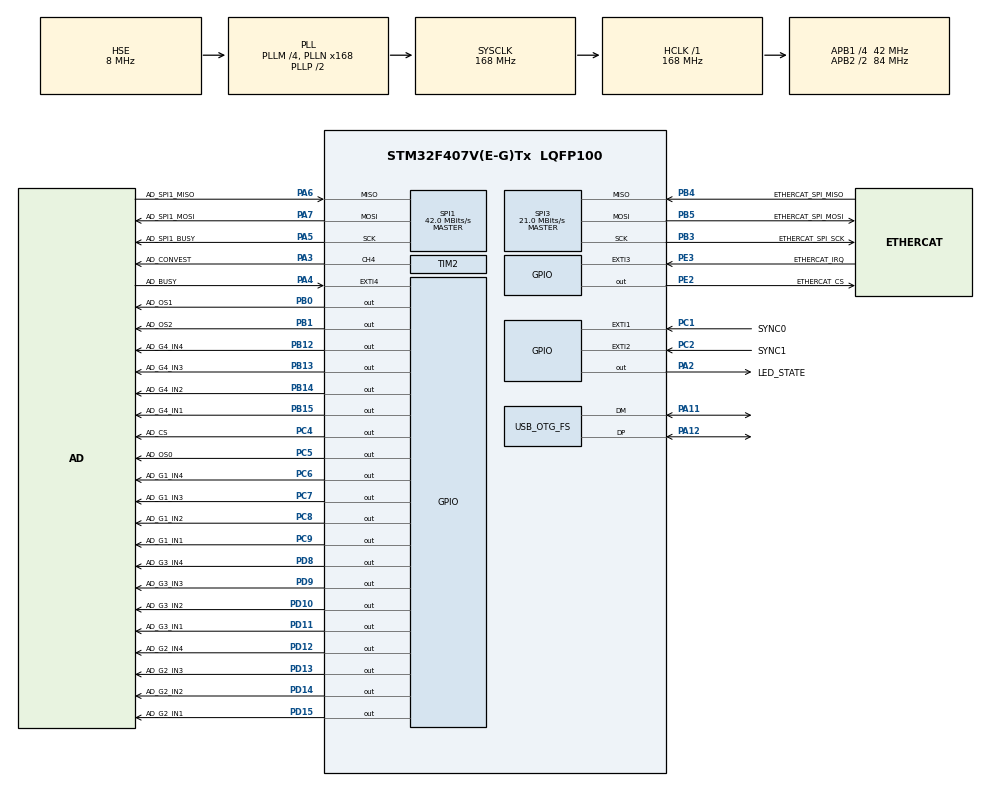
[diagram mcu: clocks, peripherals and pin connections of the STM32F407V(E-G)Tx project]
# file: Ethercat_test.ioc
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Mcu.Family=STM32F4
Mcu.Name=STM32F407V(E-G)Tx
Mcu.Package=LQFP100
NVIC.EXTI1_IRQn=true\:7\:0\:true\:false\:true\:true
NVIC.EXTI2_IRQn=true\:6\:1\:true\:false\:true\:true
NVIC.EXTI3_IRQn=true\:6\:0\:true\:false\:true\:true
NVIC.EXTI4_IRQn=true\:1\:1\:true\:false\:true\:true
NVIC.OTG_FS_IRQn=true\:0\:0\:false\:false\:true\:false
NVIC.PriorityGroup=NVIC_PRIORITYGROUP_3
NVIC.TIM5_IRQn=true\:5\:1\:true\:false\:true\:true
PA11.Mode=Device_Only
PA11.Signal=USB_OTG_FS_DM
PA12.Mode=Device_Only
PA12.Signal=USB_OTG_FS_DP
PA2.GPIO_Label=LED_STATE
PA2.GPIO_PuPd=GPIO_PULLUP
PA2.GPIO_Speed=GPIO_SPEED_FREQ_HIGH
PA2.PinState=GPIO_PIN_SET
PA2.Signal=GPIO_Output
PA3.GPIO_Label=AD_CONVEST
PA3.Signal=S_TIM2_CH4
PA4.GPIO_Label=AD_BUSY
PA4.GPIO_ModeDefaultEXTI=GPIO_MODE_IT_FALLING
PA4.Signal=GPXTI4
PA5.GPIO_Label=AD_SPI1_BUSY
PA5.GPIO_PuPd=GPIO_PULLUP
PA5.Mode=Full_Duplex_Master
PA5.Signal=SPI1_SCK
PA6.GPIO_Label=AD_SPI1_MISO
PA6.GPIO_PuPd=GPIO_PULLUP
PA6.Mode=Full_Duplex_Master
PA6.Signal=SPI1_MISO
PA7.GPIO_Label=AD_SPI1_MOSI
PA7.GPIO_PuPd=GPIO_PULLUP
PA7.Mode=Full_Duplex_Master
PA7.Signal=SPI1_MOSI
PB0.GPIO_Label=AD_OS1
PB0.GPIO_PuPd=GPIO_PULLDOWN
PB0.GPIO_Speed=GPIO_SPEED_FREQ_HIGH
PB0.Signal=GPIO_Output
PB1.GPIO_Label=AD_OS2
PB1.GPIO_PuPd=GPIO_PULLDOWN
PB1.GPIO_Speed=GPIO_SPEED_FREQ_HIGH
PB1.Signal=GPIO_Output
PB12.GPIO_Label=AD_G4_IN4
PB12.GPIO_PuPd=GPIO_PULLDOWN
PB12.GPIO_Speed=GPIO_SPEED_FREQ_HIGH
PB12.Signal=GPIO_Output
PB13.GPIO_Label=AD_G4_IN3
PB13.GPIO_PuPd=GPIO_PULLDOWN
PB13.GPIO_Speed=GPIO_SPEED_FREQ_HIGH
PB13.Signal=GPIO_Output
PB14.GPIO_Label=AD_G4_IN2
PB14.GPIO_PuPd=GPIO_PULLDOWN
PB14.GPIO_Speed=GPIO_SPEED_FREQ_HIGH
PB14.Signal=GPIO_Output
PB15.GPIO_Label=AD_G4_IN1
PB15.GPIO_PuPd=GPIO_PULLDOWN
PB15.GPIO_Speed=GPIO_SPEED_FREQ_HIGH
PB15.Signal=GPIO_Output
PB3.GPIO_Label=ETHERCAT_SPI_SCK
PB3.GPIO_PuPd=GPIO_PULLDOWN
PB3.Mode=Full_Duplex_Master
PB3.Signal=SPI3_SCK
PB4.GPIO_Label=ETHERCAT_SPI_MISO
PB4.GPIO_PuPd=GPIO_PULLDOWN
PB4.Mode=Full_Duplex_Master
PB4.Signal=SPI3_MISO
PB5.GPIO_Label=ETHERCAT_SPI_MOSI
PB5.GPIO_PuPd=GPIO_PULLDOWN
PB5.Mode=Full_Duplex_Master
PB5.Signal=SPI3_MOSI
PC1.GPIO_Label=SYNC0
PC1.GPIO_ModeDefaultEXTI=GPIO_MODE_IT_FALLING
PC1.Signal=GPXTI1
PC14-OSC32_IN.Mode=LSE-External-Oscillator
PC14-OSC32_IN.Signal=RCC_OSC32_IN
PC15-OSC32_OUT.Mode=LSE-External-Oscillator
PC15-OSC32_OUT.Signal=RCC_OSC32_OUT
PC2.GPIO_Label=SYNC1
PC2.GPIO_ModeDefaultEXTI=GPIO_MODE_IT_FALLING
PC2.Signal=GPXTI2
PC4.GPIO_Label=AD_CS
PC4.GPIO_PuPd=GPIO_PULLUP
PC4.GPIO_Speed=GPIO_SPEED_FREQ_HIGH
PC4.PinState=GPIO_PIN_SET
PC4.Signal=GPIO_Output
PC5.GPIO_Label=AD_OS0
PC5.GPIO_PuPd=GPIO_PULLDOWN
PC5.GPIO_Speed=GPIO_SPEED_FREQ_HIGH
PC5.Signal=GPIO_Output
PC6.GPIO_Label=AD_G1_IN4
PC6.GPIO_PuPd=GPIO_PULLDOWN
PC6.GPIO_Speed=GPIO_SPEED_FREQ_HIGH
PC6.Signal=GPIO_Output
PC7.GPIO_Label=AD_G1_IN3
PC7.GPIO_PuPd=GPIO_PULLDOWN
PC7.GPIO_Speed=GPIO_SPEED_FREQ_HIGH
PC7.Signal=GPIO_Output
PC8.GPIO_Label=AD_G1_IN2
PC8.GPIO_PuPd=GPIO_PULLDOWN
PC8.GPIO_Speed=GPIO_SPEED_FREQ_HIGH
PC8.Signal=GPIO_Output
PC9.GPIO_Label=AD_G1_IN1
PC9.GPIO_PuPd=GPIO_PULLDOWN
PC9.GPIO_Speed=GPIO_SPEED_FREQ_HIGH
PC9.Signal=GPIO_Output
PD10.GPIO_Label=AD_G3_IN2
PD10.GPIO_PuPd=GPIO_PULLDOWN
PD10.GPIO_Speed=GPIO_SPEED_FREQ_HIGH
PD10.Signal=GPIO_Output
PD11.GPIO_Label=AD_G3_IN1
PD11.GPIO_PuPd=GPIO_PULLDOWN
PD11.GPIO_Speed=GPIO_SPEED_FREQ_HIGH
PD11.Signal=GPIO_Output
PD12.GPIO_Label=AD_G2_IN4
PD12.GPIO_PuPd=GPIO_PULLDOWN
PD12.GPIO_Speed=GPIO_SPEED_FREQ_HIGH
PD12.Signal=GPIO_Output
PD13.GPIO_Label=AD_G2_IN3
PD13.GPIO_PuPd=GPIO_PULLDOWN
PD13.GPIO_Speed=GPIO_SPEED_FREQ_HIGH
PD13.Signal=GPIO_Output
PD14.GPIO_Label=AD_G2_IN2
PD14.GPIO_PuPd=GPIO_PULLDOWN
PD14.GPIO_Speed=GPIO_SPEED_FREQ_HIGH
PD14.Signal=GPIO_Output
PD15.GPIO_Label=AD_G2_IN1
PD15.GPIO_PuPd=GPIO_PULLDOWN
PD15.GPIO_Speed=GPIO_SPEED_FREQ_HIGH
PD15.Signal=GPIO_Output
PD8.GPIO_Label=AD_G3_IN4
PD8.GPIO_PuPd=GPIO_PULLDOWN
PD8.GPIO_Speed=GPIO_SPEED_FREQ_HIGH
PD8.Signal=GPIO_Output
PD9.GPIO_Label=AD_G3_IN3
PD9.GPIO_PuPd=GPIO_PULLDOWN
PD9.GPIO_Speed=GPIO_SPEED_FREQ_HIGH
PD9.Signal=GPIO_Output
PE2.GPIO_Label=ETHERCAT_CS
PE2.GPIO_PuPd=GPIO_PULLUP
PE2.GPIO_Speed=GPIO_SPEED_FREQ_HIGH
PE2.PinState=GPIO_PIN_SET
PE2.Signal=GPIO_Output
PE3.GPIO_Label=ETHERCAT_IRQ
PE3.GPIO_ModeDefaultEXTI=GPIO_MODE_IT_FALLING
PE3.Signal=GPXTI3
PH0-OSC_IN.Mode=HSE-External-Oscillator
PH0-OSC_IN.Signal=RCC_OSC_IN
PH1-OSC_OUT.Mode=HSE-External-Oscillator
PH1-OSC_OUT.Signal=RCC_OSC_OUT
ProjectManager.HeapSize=0x1000
ProjectManager.StackSize=0x500
ProjectManager.TargetToolchain=MDK-ARM V5
RCC.48MHZClocksFreq_Value=48000000
RCC.AHBFreq_Value=168000000
RCC.APB1CLKDivider=RCC_HCLK_DIV4
RCC.APB1Freq_Value=42000000
RCC.APB1TimFreq_Value=84000000
RCC.APB2CLKDivider=RCC_HCLK_DIV2
RCC.APB2Freq_Value=84000000
RCC.APB2TimFreq_Value=168000000
RCC.CortexFreq_Value=168000000
RCC.HCLKFreq_Value=168000000
RCC.HSE_VALUE=8000000
RCC.HSI_VALUE=16000000
RCC.PLLM=4
RCC.PLLN=168
RCC.PLLQ=7
RCC.SYSCLKFreq_VALUE=168000000
RCC.SYSCLKSource=RCC_SYSCLKSOURCE_PLLCLK
RCC.VCOOutputFreq_Value=336000000
SH.S_TIM2_CH4.0=TIM2_CH4,PWM Generation4 CH4
SPI1.CLKPhase=SPI_PHASE_2EDGE
SPI1.CLKPolarity=SPI_POLARITY_HIGH
SPI1.CalculateBaudRate=42.0 MBits/s
SPI1.Direction=SPI_DIRECTION_2LINES
SPI1.Mode=SPI_MODE_MASTER
SPI1.VirtualType=VM_MASTER
SPI3.BaudRatePrescaler=SPI_BAUDRATEPRESCALER_2
SPI3.CLKPhase=SPI_PHASE_1EDGE
SPI3.CLKPolarity=SPI_POLARITY_LOW
SPI3.CRCCalculation=SPI_CRCCALCULATION_DISABLE
SPI3.CalculateBaudRate=21.0 MBits/s
SPI3.Direction=SPI_DIRECTION_2LINES
SPI3.Mode=SPI_MODE_MASTER
SPI3.VirtualType=VM_MASTER
TIM2.Channel-PWM\ Generation4\ CH4=TIM_CHANNEL_4
TIM2.Period=1200
TIM2.Prescaler=70-1
TIM2.Pulse-PWM\ Generation4\ CH4=600
TIM5.Period=2000
TIM5.Prescaler=42-1
USB_DEVICE.CLASS_NAME_FS=CDC
USB_DEVICE.VirtualMode-CDC_FS=Cdc
USB_DEVICE.VirtualModeFS=Cdc_FS
USB_OTG_FS.VirtualMode=Device_Only
VP_TIM5_VS_ClockSourceINT.Mode=Internal
VP_USB_DEVICE_VS_USB_DEVICE_CDC_FS.Mode=CDC_FS
board=Ethercat_test

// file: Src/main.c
/**
  ******************************************************************************
  * @file           : main.c
  * @brief          : Main program body
  ******************************************************************************
  * This notice applies to any and all portions of this file
  * that are not between comment pairs USER CODE BEGIN and
  * USER CODE END. Other portions of this file, whether
  * inserted by the user or by software development tools
  * are owned by their respective copyright owners.
  *
  * Copyright (c) 2018 STMicroelectronics International N.V.
  * All rights reserved.
  *
  * Redistribution and use in source and binary forms, with or without
  * modification, are permitted, provided that the following conditions are met:
  *
  * 1. Redistribution of source code must retain the above copyright notice,
  *    this list of conditions and the following disclaimer.
  * 2. Redistributions in binary form must reproduce the above copyright notice,
  *    this list of conditions and the following disclaimer in the documentation
  *    and/or other materials provided with the distribution.
  * 3. Neither the name of STMicroelectronics nor the names of other
  *    contributors to this software may be used to endorse or promote products
  *    derived from this software without specific written permission.
  * 4. This software, including modifications and/or derivative works of this
  *    software, must execute solely and exclusively on microcontroller or
  *    microprocessor devices manufactured by or for STMicroelectronics.
  * 5. Redistribution and use of this software other than as permitted under
  *    this license is void and will automatically terminate your rights under
  *    this license.
  *
  * THIS SOFTWARE IS PROVIDED BY STMICROELECTRONICS AND CONTRIBUTORS "AS IS"
  * AND ANY EXPRESS, IMPLIED OR STATUTORY WARRANTIES, INCLUDING, BUT NOT
  * LIMITED TO, THE IMPLIED WARRANTIES OF MERCHANTABILITY, FITNESS FOR A
  * PARTICULAR PURPOSE AND NON-INFRINGEMENT OF THIRD PARTY INTELLECTUAL PROPERTY
  * RIGHTS ARE DISCLAIMED TO THE FULLEST EXTENT PERMITTED BY LAW. IN NO EVENT
  * SHALL STMICROELECTRONICS OR CONTRIBUTORS BE LIABLE FOR ANY DIRECT, INDIRECT,
  * INCIDENTAL, SPECIAL, EXEMPLARY, OR CONSEQUENTIAL DAMAGES (INCLUDING, BUT NOT
  * LIMITED TO, PROCUREMENT OF SUBSTITUTE GOODS OR SERVICES; LOSS OF USE, DATA,
  * OR PROFITS; OR BUSINESS INTERRUPTION) HOWEVER CAUSED AND ON ANY THEORY OF
  * LIABILITY, WHETHER IN CONTRACT, STRICT LIABILITY, OR TORT (INCLUDING
  * NEGLIGENCE OR OTHERWISE) ARISING IN ANY WAY OUT OF THE USE OF THIS SOFTWARE,
  * EVEN IF ADVISED OF THE POSSIBILITY OF SUCH DAMAGE.
  *
  ******************************************************************************
  */
#include "main.h"
#include "stm32f4xx_hal.h"
#include "spi.h"
#include "tim.h"
#include "usb_device.h"
#include "gpio.h"

/* USER CODE BEGIN Includes */
#include "ecat_def.h"
#include "applInterface.h"
#include "coeappl.h"
#include "el9800appl.h"
#include "ad7606.h"
//#include "delay.h"
#include "global.h"
#include "gain_adj.h"
/* USER CODE END Includes */

/* USER CODE BEGIN PV */
/* Private variables ---------------------------------------------------------*/

/* USER CODE END PV */

void SystemClock_Config(void);

/* USER CODE BEGIN PFP */
/* Private function prototypes -----------------------------------------------*/

/* USER CODE END PFP */

int main(void)
{

  /* MCU Configuration----------------------------------------------------------*/

  /* Reset of all peripherals, Initializes the Flash interface and the Systick. */
  HAL_Init();

  /* Configure the system clock */
  SystemClock_Config();

  /* Initialize all configured peripherals */
  MX_GPIO_Init();
  MX_SPI1_Init();
  MX_SPI3_Init();
  MX_USB_DEVICE_Init();
  MX_TIM2_Init();
  MX_TIM5_Init();
  /* USER CODE BEGIN 2 */
	HAL_Delay(10);
  //ECAT初始化
	HW_Init();//Ethercat硬件初始化中的校验会阻塞
	MainInit();
	APPL_GenerateMapping(&nPdInputSize,&nPdOutputSize);
	bRunApplication = TRUE;

  //AD7606引脚初始化及设置过采样倍率
	AD7606_Init();
  HAL_Delay(200);
  AD_CONVEST_PWM_Init(10);//10kHz
//	AD7606_GPIO_Init();
//	AD7606_SetOsRate(AD_OS_X8);
	//BUSY外部中断初始化及其他引脚初始化
//	EXTIX_Init();
//	DAS_GPIO_Init();//必须放在HW_Init后面否则PB口会被重新初始化
	//设置CONVST引脚PWM频率和占空比
//	TIM5_CH4_PWM_Init(60-1,70-1);	//84M/70=1.2M的计数频率,重装载值60,所以PWM频率为1.2M/60=20Khz.
//	TIM_SetCompare4(TIM5,30);	//修改比较值，修改占空比30/60=0.5
	//设置各通道信号放大倍数(1,4,16,64,128,209)，由CMD命令修改
//	Amp_Set(1,1);
//	Amp_Set(2,1);
//	Amp_Set(3,1);
//	Amp_Set(4,1);

	HAL_TIM_PWM_Start(&htim2, TIM_CHANNEL_4);
  /* USER CODE END 2 */

  /* Infinite loop */
  /* USER CODE BEGIN WHILE */
  while (1)
  {
    MainLoop();
		LED_Twinkle();//indication of normal state of program
  /* USER CODE END WHILE */

  /* USER CODE BEGIN 3 */

  }
	HW_Release();
  /* USER CODE END 3 */

}

void SystemClock_Config(void)
{

  RCC_OscInitTypeDef RCC_OscInitStruct;
  RCC_ClkInitTypeDef RCC_ClkInitStruct;

    /**Configure the main internal regulator output voltage
    */
  __HAL_RCC_PWR_CLK_ENABLE();

  __HAL_PWR_VOLTAGESCALING_CONFIG(PWR_REGULATOR_VOLTAGE_SCALE1);

    /**Initializes the CPU, AHB and APB busses clocks
    */
  RCC_OscInitStruct.OscillatorType = RCC_OSCILLATORTYPE_HSE;
  RCC_OscInitStruct.HSEState = RCC_HSE_ON;
  RCC_OscInitStruct.PLL.PLLState = RCC_PLL_ON;
  RCC_OscInitStruct.PLL.PLLSource = RCC_PLLSOURCE_HSE;
  RCC_OscInitStruct.PLL.PLLM = 4;
  RCC_OscInitStruct.PLL.PLLN = 168;
  RCC_OscInitStruct.PLL.PLLP = RCC_PLLP_DIV2;
  RCC_OscInitStruct.PLL.PLLQ = 7;
  if (HAL_RCC_OscConfig(&RCC_OscInitStruct) != HAL_OK)
  {
    _Error_Handler(__FILE__, __LINE__);
  }

    /**Initializes the CPU, AHB and APB busses clocks
    */
  RCC_ClkInitStruct.ClockType = RCC_CLOCKTYPE_HCLK|RCC_CLOCKTYPE_SYSCLK
                              |RCC_CLOCKTYPE_PCLK1|RCC_CLOCKTYPE_PCLK2;
  RCC_ClkInitStruct.SYSCLKSource = RCC_SYSCLKSOURCE_PLLCLK;
  RCC_ClkInitStruct.AHBCLKDivider = RCC_SYSCLK_DIV1;
  RCC_ClkInitStruct.APB1CLKDivider = RCC_HCLK_DIV4;
  RCC_ClkInitStruct.APB2CLKDivider = RCC_HCLK_DIV2;

  if (HAL_RCC_ClockConfig(&RCC_ClkInitStruct, FLASH_LATENCY_5) != HAL_OK)
  {
    _Error_Handler(__FILE__, __LINE__);
  }

    /**Configure the Systick interrupt time
    */
  HAL_SYSTICK_Config(HAL_RCC_GetHCLKFreq()/1000);

    /**Configure the Systick
    */
  HAL_SYSTICK_CLKSourceConfig(SYSTICK_CLKSOURCE_HCLK);

  /* SysTick_IRQn interrupt configuration */
  HAL_NVIC_SetPriority(SysTick_IRQn, 0, 0);
}

void _Error_Handler(char *file, int line)
{
  while(1)
  {
  }
}

/************************ (C) COPYRIGHT STMicroelectronics *****END OF FILE****/
